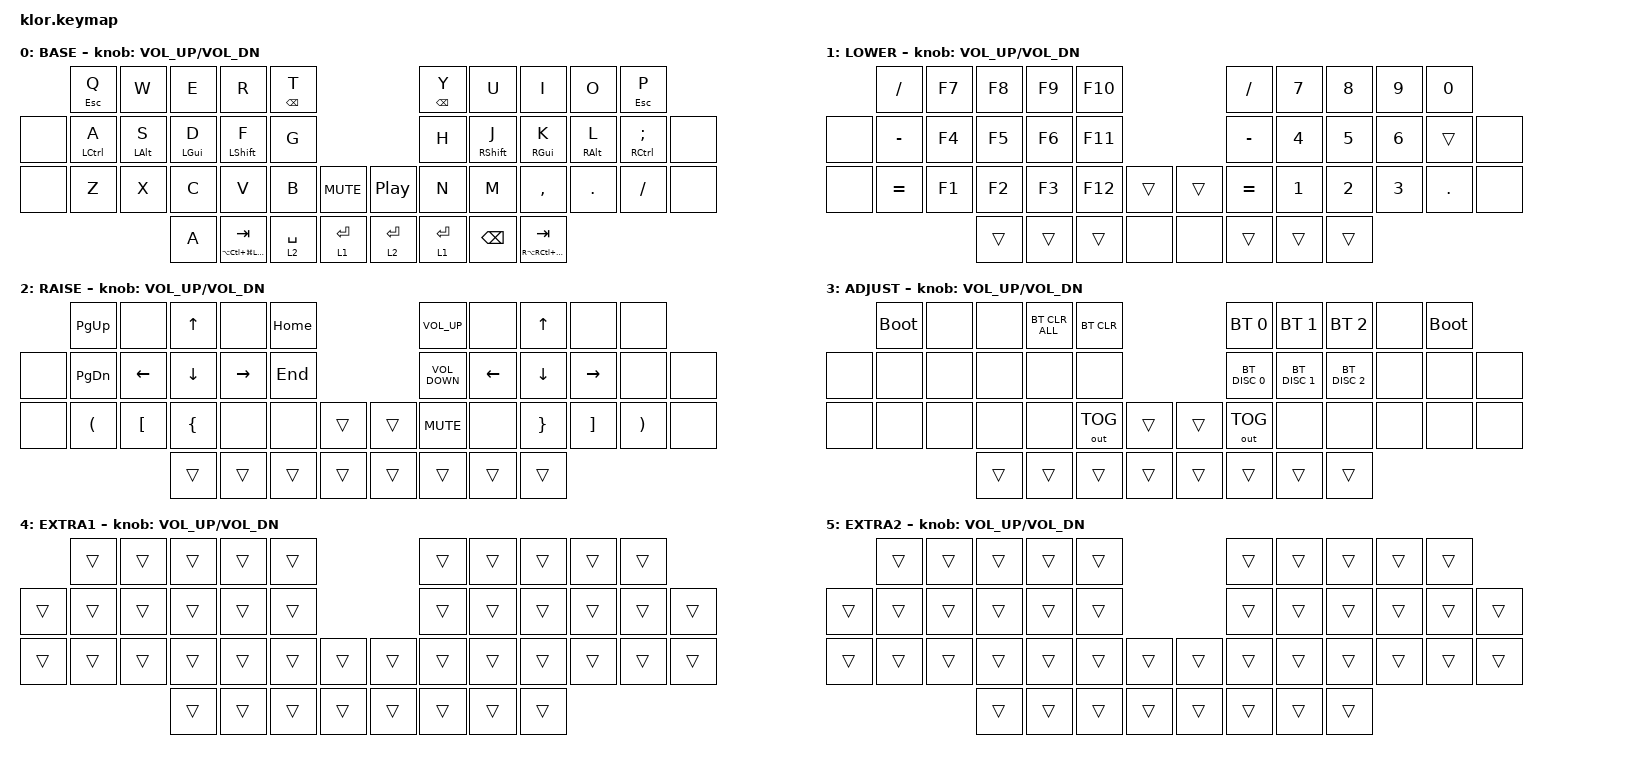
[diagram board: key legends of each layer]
//                               █         █    █            ▄▄▄▀▀▀▀▀▀▄▄▄        █▀▀▀▀▀▀▀▀▀▀█
//                               █        █     █          ▄▀            ▀▄      █          █
//                               █       █      █        ▄▀                ▀▄    █          █
//                               █      █       █        █                  █    █          █
//                               █     █        █       █                    █   █          █
//                               █    █         █       █                    █   █▄▄▄▄▄▄▄▄▄▄█
//                               █   █ █        █       █                    █   █      █
//                               █  █   █       █        █                  █    █       █
//                               █ █     █      █        ▀▄                ▄▀    █        █
//                               ██       █     █          ▀▄            ▄▀      █         █
//                               █         █    █▄▄▄▄▄▄▄▄    ▀▀▀▄▄▄▄▄▄▀▀▀        █          █
//
// ▄▄▄▄▄▄▄▄▄▄▄▄▄▄▄▄▄▄▄▄▄▄▄▄▄▄▄▄▄▄▄▄▄▄▄▄▄▄▄▄▄▄▄▄▄▄▄▄▄▄▄▄▄▄▄▄▄▄▄▄▄▄▄▄▄▄▄▄▄▄▄▄▄▄▄▄▄▄▄▄▄▄▄▄▄▄▄▄▄▄▄▄▄▄▄▄▄▄▄▄▄▄▄▄▄▄▄▄▄▄▄▄▄▄▄▄▄▄▄▄▄▄▄▄▄

#include <behaviors.dtsi>
#include <dt-bindings/zmk/bt.h>
#include <dt-bindings/zmk/keys.h>
#include <dt-bindings/zmk/outputs.h>

#define BASE   0
#define LOWER  1
#define RAISE  2
#define ADJUST 3
#define EXTRA1 4
#define EXTRA2 5

/ {
    behaviors {
        hm: homerow_mods {
            compatible = "zmk,behavior-hold-tap";
            label = "HOMEROW_MODS";
            #binding-cells = <2>;
            tapping-term-ms = <175>;
            quick_tap_ms = <175>;
            require-prior-idle-ms = <150>;
            flavor = "balanced";
            bindings = <&kp>, <&kp>;
        };

        mt: mod_tap {
            compatible = "zmk,behavior-hold-tap";
            label = "MOD_TAP";
            #binding-cells = <2>;
            flavor = "balanced";
            tapping-term-ms = <175>;
            quick_tap_ms = <175>;
            require-prior-idle-ms = <150>;
            bindings = <&kp>, <&kp>;
        };
    };

    combos {
        compatible = "zmk,combos";

        combo_to_bt_qp {
            timeout-ms = <100>;
            key-positions = <16 20>;
            bindings = <&to ADJUST>;
        };

        combo_to_base_ty {
            timeout-ms = <100>;
            key-positions = <5 9>;
            bindings = <&to BASE>;
        };

        ohre {
            bindings = <&to ADJUST>;
            key-positions = <15 11>;
            timeout-ms = <100>;
        };

        ccvx {
            bindings = <&to BASE>;
            key-positions = <0 4>;
            timeout-ms = <100>;
        };
    };

    keymap {
        compatible = "zmk,keymap";

        // ▄▄▄▄▄▄▄▄▄▄▄▄▄▄▄▄▄▄▄▄▄▄▄▄▄▄▄▄▄▄▄▄▄▄▄▄▄▄▄▄▄▄▄▄▄▄▄▄▄▄▄▄▄▄▄▄▄▄▄▄▄▄▄▄▄▄▄▄▄▄▄▄▄▄▄▄▄▄▄▄▄▄▄▄▄▄▄▄▄▄▄▄▄▄▄▄▄▄▄▄▄▄▄▄▄▄▄▄▄▄▄▄▄▄▄▄▄▄▄▄▄▄▄▄▄▄▄▄▄▄▄▄▄▄▄▄▄▄▄▄▄▄

        base_layer {
            // ┌───────────────────────────────────────────────────────────┐

            label = "BASE";

            // └───────────────────────────────────────────────────────────┘
            /*           ┌─────────┬─────────┬─────────┬─────────┬─────────┐                    ┌─────────┬─────────┬─────────┬─────────┬─────────┐
             │    Q    │    W    │    E    │    R    │    T    │                    │    Y    │    U    │    I    │    O    │    P    │
   ┌─────────┼─────────┼─────────┼─────────┼─────────┼─────────┤                    ├─────────┼─────────┼─────────┼─────────┼─────────┼─────────┐
   │  NONE   │    A    │    S    │    D    │    F    │    G    │                    │    H    │    J    │    K    │    L    │    ;    │  NONE   │
   ├─────────┼─────────┼─────────┼─────────┼─────────┼─────────┤╭────────╮╭────────╮├─────────┼─────────┼─────────┼─────────┼─────────┼─────────┤
   │  NONE   │    Z    │    X    │    C    │    V    │    B    ││  MUTE  ││PLY/PSE ││    N    │    M    │    ,    │    .    │    /    │  NONE   │
   └─────────┴─────────┴─────────┼─────────┼─────────┼─────────┼╰────────╯╰────────╯┼─────────┼─────────┼─────────┼─────────┴─────────┴─────────┘
                                 │ TAB/BSPC│ ENTER/R│ SPC/GUI │  NONE   ││  NONE   │ENT/SHIFT│ BSPC/LW│ ESC/BSPC│
                                 └─────────┴─────────┴─────────┴─────────┘└─────────┴─────────┴─────────┴─────────┘ */

            bindings = <
       &mt ESC Q    &kp W       &kp E       &kp R                           &mt BACKSPACE T                          &mt BACKSPACE Y  &kp U          &kp I                      &kp O       &mt ESC P
&none  &mt LCTRL A  &mt LALT S  &mt LGUI D  &mt LSHFT F                     &kp G                                    &kp H            &mt RSHFT J    &mt RGUI K                 &mt RALT L  &mt RCTRL SEMI  &none
&none  &kp Z        &kp X       &kp C       &kp V                           &kp B            &kp C_MUTE   &kp C_PP   &kp N            &kp M          &kp COMMA                  &kp DOT     &kp FSLH        &none
                                &kp A       &mt LA(LC(LG(LEFT_SHIFT))) TAB  &lt 2 SPACE      &lt 1 ENTER  &lt 2 RET  &lt 1 RET        &kp BACKSPACE  &mt RA(RC(RG(RSHFT))) TAB
            >;

            sensor-bindings = <&inc_dec_kp C_VOL_UP C_VOL_DN>;
        };

        // ▄▄▄▄▄▄▄▄▄▄▄▄▄▄▄▄▄▄▄▄▄▄▄▄▄▄▄▄▄▄▄▄▄▄▄▄▄▄▄▄▄▄▄▄▄▄▄▄▄▄▄▄▄▄▄▄▄▄▄▄▄▄▄▄▄▄▄▄▄▄▄▄▄▄▄▄▄▄▄▄▄▄▄▄▄▄▄▄▄▄▄▄▄▄▄▄▄▄▄▄▄▄▄▄▄▄▄▄▄▄▄▄▄▄▄▄▄▄▄▄▄▄▄▄▄▄▄▄▄▄▄▄▄▄▄▄▄▄▄▄▄▄

        lower_layer {
            // ┌───────────────────────────────────────────────────────────┐

            label = "LOWER";

            // └───────────────────────────────────────────────────────────┘
            /*           ┌─────────┬─────────┬─────────┬─────────┬─────────┐                    ┌─────────┬─────────┬─────────┬─────────┬─────────┐
             │         │         │    UP   │         │    {    │                    │    }    │    7    │    8    │    9    │    +    │
   ┌─────────┼─────────┼─────────┼─────────┼─────────┼─────────┤                    ├─────────┼─────────┼─────────┼─────────┼─────────┼─────────┐
   │         │         │   LEFT  │  DOWN   │  RIGHT  │    [    │                    │    ]    │    4    │    5    │    6    │    -    │         │
   ├─────────┼─────────┼─────────┼─────────┼─────────┼─────────┤╭────────╮╭────────╮├─────────┼─────────┼─────────┼─────────┼─────────┼─────────┤
   │         │         │   P UP  │ C LOCK  │ P DOWN  │    (    ││        ││        ││    )    │    1    │    2    │    3    │    *    │         │
   └─────────┴─────────┴─────────┼─────────┼─────────┼─────────┼╰────────╯╰────────╯┼─────────┼─────────┼─────────┼─────────┴─────────┴─────────┘
                                 │         │         │         │         ││         │         │    0    │         │  
                                 └─────────┴─────────┴─────────┴─────────┘└─────────┴─────────┴─────────┴─────────┘ */

            bindings = <
       &kp FSLH   &kp F7  &kp F8  &kp F9  &kp F10                  &kp FSLH   &kp N7  &kp N8  &kp N9  &kp N0
&none  &kp MINUS  &kp F4  &kp F5  &kp F6  &kp F11                  &kp MINUS  &kp N4  &kp N5  &kp N6  &trans   &none
&none  &kp EQUAL  &kp F1  &kp F2  &kp F3  &kp F12  &trans  &trans  &kp EQUAL  &kp N1  &kp N2  &kp N3  &kp DOT  &none
                          &trans  &trans  &trans   &none   &none   &trans     &trans  &trans
            >;

            sensor-bindings = <&inc_dec_kp C_VOL_UP C_VOL_DN>;
        };

        // ▄▄▄▄▄▄▄▄▄▄▄▄▄▄▄▄▄▄▄▄▄▄▄▄▄▄▄▄▄▄▄▄▄▄▄▄▄▄▄▄▄▄▄▄▄▄▄▄▄▄▄▄▄▄▄▄▄▄▄▄▄▄▄▄▄▄▄▄▄▄▄▄▄▄▄▄▄▄▄▄▄▄▄▄▄▄▄▄▄▄▄▄▄▄▄▄▄▄▄▄▄▄▄▄▄▄▄▄▄▄▄▄▄▄▄▄▄▄▄▄▄▄▄▄▄

        raise_layer {
            // ┌───────────────────────────────────────────────────────────┐

            label = "RAISE";

            // └───────────────────────────────────────────────────────────┘
            /*           ┌─────────┬─────────┬─────────┬─────────┬─────────┐                    ┌─────────┬─────────┬─────────┬─────────┬─────────┐
             │         │         │         │         │         │                    │         │         │    Ü    │         │         │
   ┌─────────┼─────────┼─────────┼─────────┼─────────┼─────────┤                    ├─────────┼─────────┼─────────┼─────────┼─────────┼─────────┐
   │    Ä    │         │    ß    │         │         │         │                    │         │         │         │         │    Ö    │         │
   ├─────────┼─────────┼─────────┼─────────┼─────────┼─────────┤╭────────╮╭────────╮├─────────┼─────────┼─────────┼─────────┼─────────┼─────────┤
   │         │         │         │         │         │         ││        ││        ││         │         │         │         │         │         │
   └─────────┴─────────┴─────────┼─────────┼─────────┼─────────┼╰────────╯╰────────╯┼─────────┼─────────┼─────────┼─────────┴─────────┴─────────┘
                                 │ ADJUST  │         │         │         ││         │         │         │         │  
                                 └─────────┴─────────┴─────────┴─────────┘└─────────┴─────────┴─────────┴─────────┘ */

            bindings = <
       &kp PAGE_UP           &none             &kp UP          &none      &kp HOME                  &kp C_VOLUME_UP    &none           &kp UP           &none              &none
&none  &kp PAGE_DOWN         &kp LEFT_ARROW    &kp DOWN_ARROW  &kp RIGHT  &kp END                   &kp C_VOLUME_DOWN  &kp LEFT_ARROW  &kp DOWN_ARROW   &kp RIGHT          &none                  &none
&none  &kp LEFT_PARENTHESIS  &kp LEFT_BRACKET  &kp LEFT_BRACE  &none      &none     &trans  &trans  &kp K_MUTE         &none           &kp RIGHT_BRACE  &kp RIGHT_BRACKET  &kp RIGHT_PARENTHESIS  &none
                                               &trans          &trans     &trans    &trans  &trans  &trans             &trans          &trans
            >;

            sensor-bindings = <&inc_dec_kp C_VOL_UP C_VOL_DN>;
        };

        // ▄▄▄▄▄▄▄▄▄▄▄▄▄▄▄▄▄▄▄▄▄▄▄▄▄▄▄▄▄▄▄▄▄▄▄▄▄▄▄▄▄▄▄▄▄▄▄▄▄▄▄▄▄▄▄▄▄▄▄▄▄▄▄▄▄▄▄▄▄▄▄▄▄▄▄▄▄▄▄▄▄▄▄▄▄▄▄▄▄▄▄▄▄▄▄▄▄▄▄▄▄▄▄▄▄▄▄▄▄▄▄▄▄▄▄▄▄▄▄▄▄▄▄▄▄

        adjust_layer {
            // ┌───────────────────────────────────────────────────────────┐

            label = "ADJUST";

            // └───────────────────────────────────────────────────────────┘
            /*           ┌─────────┬─────────┬─────────┬─────────┬─────────┐                    ┌─────────┬─────────┬─────────┬─────────┬─────────┐
             │         │         │         │         │         │                    │         │         │         │         │         │
   ┌─────────┼─────────┼─────────┼─────────┼─────────┼─────────┤                    ├─────────┼─────────┼─────────┼─────────┼─────────┼─────────┐
   │         │         │         │         │         │         │                    │         │         │         │         │         │         │
   ├─────────┼─────────┼─────────┼─────────┼─────────┼─────────┤╭────────╮╭────────╮├─────────┼─────────┼─────────┼─────────┼─────────┼─────────┤
   │         │         │         │         │         │         ││        ││        ││         │         │         │         │         │         │
   └─────────┴─────────┴─────────┼─────────┼─────────┼─────────┼╰────────╯╰────────╯┼─────────┼─────────┼─────────┼─────────┴─────────┴─────────┘
                                 │         │         │         │         ││         │         │         │         │  
                                 └─────────┴─────────┴─────────┴─────────┘└─────────┴─────────┴─────────┴─────────┘ */

            bindings = <
       &bootloader  &none  &none   &bt BT_CLR_ALL  &bt BT_CLR                    &bt BT_SEL 0   &bt BT_SEL 1   &bt BT_SEL 2   &none  &bootloader
&none  &none        &none  &none   &none           &none                         &bt BT_DISC 0  &bt BT_DISC 1  &bt BT_DISC 2  &none  &none        &none
&none  &none        &none  &none   &none           &out OUT_TOG  &trans  &trans  &out OUT_TOG   &none          &none          &none  &none        &none
                           &trans  &trans          &trans        &trans  &trans  &trans         &trans         &trans
            >;

            sensor-bindings = <&inc_dec_kp C_VOL_UP C_VOL_DN>;
        };

        extra1_layer {
            label = "EXTRA1";
            bindings = <
        &trans  &trans  &trans  &trans  &trans                  &trans  &trans  &trans  &trans  &trans
&trans  &trans  &trans  &trans  &trans  &trans                  &trans  &trans  &trans  &trans  &trans  &trans
&trans  &trans  &trans  &trans  &trans  &trans  &trans  &trans  &trans  &trans  &trans  &trans  &trans  &trans
                        &trans  &trans  &trans  &trans  &trans  &trans  &trans  &trans
            >;

            sensor-bindings = <&inc_dec_kp C_VOL_UP C_VOL_DN>;
        };

        extra2_layer {
            label = "EXTRA2";
            bindings = <
        &trans  &trans  &trans  &trans  &trans                  &trans  &trans  &trans  &trans  &trans
&trans  &trans  &trans  &trans  &trans  &trans                  &trans  &trans  &trans  &trans  &trans  &trans
&trans  &trans  &trans  &trans  &trans  &trans  &trans  &trans  &trans  &trans  &trans  &trans  &trans  &trans
                        &trans  &trans  &trans  &trans  &trans  &trans  &trans  &trans
            >;

            sensor-bindings = <&inc_dec_kp C_VOL_UP C_VOL_DN>;
        };
    };
};
